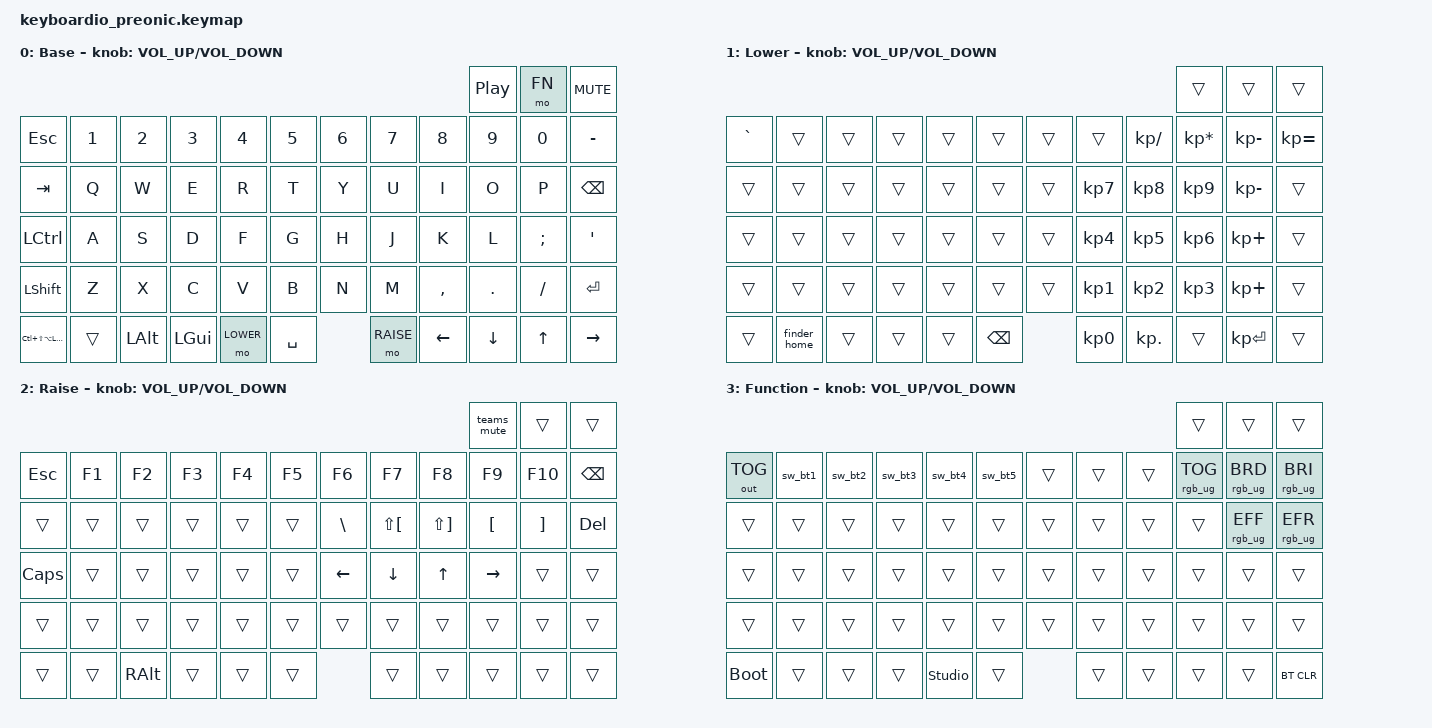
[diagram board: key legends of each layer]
/*
 * Copyright (c) 2022 Pete Johanson
 *
 * SPDX-License-Identifier: MIT
 */

#include <behaviors.dtsi>
#include <dt-bindings/zmk/keys.h>
#include <dt-bindings/zmk/bt.h>
#include <dt-bindings/zmk/outputs.h>
#include <dt-bindings/zmk/backlight.h>
#include <dt-bindings/zmk/rgb.h>

#define LOWER 1
#define RAISE 2
#define FN 3

// Using layer taps on thumbs, having quick tap as well helps w/ repeating space/backspace
&lt { quick_tap_ms = <200>; };

// Convenience macro to make the Bluetooth commands shorter
#define BT(n) BT_SEL n

// Hyper key: all the modifiers
#define HYPER LC(LS(LA(LGUI)))

/ {
    chosen {
        // Valid choices: [ &mit_layout, &ortho_layout ]
        zmk,physical-layout = &mit_layout;
    };

    macros {
        // From Finder, go to the Home directory
        finder_home: finder_home {
            compatible = "zmk,behavior-macro";
            #binding-cells = <0>;
            wait-ms = <0>;
            tap-ms = <0>;
            bindings =
                <&macro_press &kp LEFT_COMMAND>,
                <&macro_press &kp LEFT_SHIFT>,
                <&macro_tap &kp H>,
                <&macro_release &kp LEFT_COMMAND>,
                <&macro_release &kp LEFT_SHIFT>;
        };
        // Teams mute
        teams_mute: teams_mute {
            compatible = "zmk,behavior-macro";
            #binding-cells = <0>;
            wait-ms = <0>;
            tap-ms = <0>;
            bindings =
                <&macro_press &kp LEFT_COMMAND>,
                <&macro_press &kp LEFT_SHIFT>,
                <&macro_tap &kp M>,
                <&macro_release &kp LEFT_COMMAND>,
                <&macro_release &kp LEFT_SHIFT>:
        };
        // BLE shortcuts
        sw_bt1: sw_bt1 {
            compatible = "zmk,behavior-macro";
            #binding-cells = <0>;
            wait-ms = <0>;
            tap-ms = <0>;
            bindings =
                <&rgb_ug RGB_COLOR_HSB(128,100,10)>,
                <&bt BT(0)>;
        };
        sw_bt2: sw_bt2 {
            compatible = "zmk,behavior-macro";
            #binding-cells = <0>;
            wait-ms = <40>;
            tap-ms = <40>;
            bindings =
                <&rgb_ug RGB_COLOR_HSB(0,100,10)>,
                <&bt BT(1)>;
        };
        sw_bt3: sw_bt3 {
            compatible = "zmk,behavior-macro";
            #binding-cells = <0>;
            wait-ms = <40>;
            tap-ms = <40>;
            bindings =
                <&rgb_ug RGB_COLOR_HSB(300,100,10)>,
                <&bt BT(2)>;
        };
        sw_bt4: sw_bt4 {
            compatible = "zmk,behavior-macro";
            #binding-cells = <0>;
            wait-ms = <40>;
            tap-ms = <40>;
            bindings =
                <&rgb_ug RGB_COLOR_HSB(250,100,10)>,
                <&bt BT(3)>;
        };
        sw_bt5: sw_bt5 {
            compatible = "zmk,behavior-macro";
            #binding-cells = <0>;
            wait-ms = <40>;
            tap-ms = <40>;
            bindings =
                <&rgb_ug RGB_COLOR_HSB(50,100,10)>,
                <&bt BT(4)>;
        };
    };

    keymap {
        compatible = "zmk,keymap";

        base_layer {
            label = "Base";
            bindings = <
                                                                                                             &kp C_PP    &mo FN      &kp C_MUTE

 &kp ESC   &kp N1      &kp N2      &kp N3      &kp N4      &kp N5      &kp N6      &kp N7      &kp N8      &kp N9      &kp N0      &kp MINUS
 &kp TAB     &kp Q       &kp W       &kp E       &kp R       &kp T       &kp Y       &kp U       &kp I       &kp O       &kp P       &kp BKSP
 &kp LCTRL     &kp A       &kp S       &kp D       &kp F       &kp G       &kp H       &kp J       &kp K       &kp L       &kp SEMI    &kp SQT
 &kp LSHFT   &kp Z       &kp X       &kp C       &kp V       &kp B       &kp N       &kp M       &kp COMMA   &kp PERIOD  &kp SLASH   &kp ENTER
 &kp HYPER   &trans   &kp LALT    &kp LGUI    &mo LOWER         &kp SPACE         &mo RAISE   &kp LEFT    &kp DOWN    &kp UP      &kp RIGHT

            >;
            sensor-bindings = <&inc_dec_kp C_VOLUME_UP C_VOLUME_DOWN>;            
        };

        lower_layer {
            label = "Lower";
            bindings = <
                                                                                                               &trans          &trans       &trans

 &kp GRAVE      &trans      &trans      &trans      &trans      &trans      &trans      &trans      &kp KP_DIVIDE &kp KP_MULTIPLY &kp KP_MINUS &kp KP_EQUAL
 &trans      &trans      &trans      &trans      &trans      &trans      &trans      &kp KP_N7   &kp KP_N8     &kp KP_N9       &kp KP_MINUS &trans
 &trans      &trans      &trans      &trans      &trans      &trans      &trans      &kp KP_N4   &kp KP_N5     &kp KP_N6       &kp KP_PLUS  &trans
 &trans      &trans      &trans      &trans      &trans      &trans      &trans      &kp KP_N1   &kp KP_N2     &kp KP_N3       &kp KP_PLUS  &trans
 &trans      &finder_home      &trans      &trans      &trans            &kp BKSP          &kp KP_N0   &kp KP_DOT    &trans          &kp KP_ENTER &trans

            >;
            sensor-bindings = <&inc_dec_kp C_VOLUME_UP C_VOLUME_DOWN>;
        };

        raise_layer {
            label = "Raise";
            bindings = <
                                                                                                               &teams_mute     &trans     &trans

 &kp ESC     &kp F1      &kp F2      &kp F3      &kp F4      &kp F5      &kp F6      &kp F7       &kp F8       &kp F9     &kp F10    &kp BKSP
 &trans      &trans      &trans      &trans      &trans      &trans      &kp BSLH    &kp LS(LBKT) &kp LS(RBKT) &kp LBKT   &kp RBKT   &kp DEL
 &kp CAPS    &trans      &trans      &trans      &trans      &trans      &kp LEFT    &kp DOWN     &kp UP       &kp RIGHT  &trans     &trans
 &trans      &trans      &trans      &trans      &trans      &trans      &trans      &trans       &trans       &trans     &trans     &trans
 &trans      &trans      &kp RALT    &trans      &trans            &trans            &trans       &trans       &trans     &trans     &trans

            >;
            sensor-bindings = <&inc_dec_kp C_VOLUME_UP C_VOLUME_DOWN>;
        };

        func_layer {
            label = "Function";
            bindings = <
                                                                                                             &trans      &trans      &trans

 &out OUT_TOG &sw_bt1   &sw_bt2   &sw_bt3   &sw_bt4   &sw_bt5   &trans      &trans      &trans     &rgb_ug RGB_TOG      &rgb_ug RGB_BRD      &rgb_ug RGB_BRI
 &trans       &trans      &trans      &trans      &trans      &trans      &trans      &trans      &trans     &trans      &rgb_ug RGB_EFF      &rgb_ug RGB_EFR
 &trans       &trans      &trans      &trans      &trans      &trans      &trans      &trans      &trans     &trans      &trans      &trans
 &trans       &trans      &trans      &trans      &trans      &trans      &trans      &trans      &trans     &trans      &trans      &trans
 &bootloader  &trans      &trans      &trans      &studio_unlock    &trans            &trans      &trans     &trans      &trans      &bt BT_CLR

            >;
            sensor-bindings = <&inc_dec_kp C_VOLUME_UP C_VOLUME_DOWN>;
        };
    };
};
